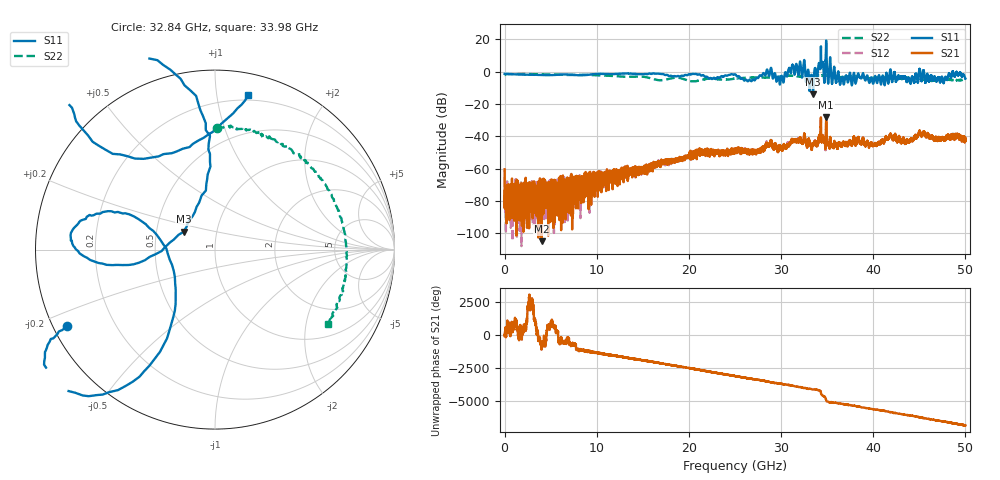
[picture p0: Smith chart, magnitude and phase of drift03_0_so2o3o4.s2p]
!Created with skrf (http://scikit-rf.org).
# Hz S RI R 50.0
!freq ReS11 ImS11 ReS21 ImS21 ReS12 ImS12 ReS22 ImS22
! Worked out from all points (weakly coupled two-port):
!   10001 points, 300 kHz to 50 GHz, reference 50 ohm
!   highest |S21| = -28.04 dB at 34.89 GHz (marker M1); lowest = -105.0 dB at 4.01 GHz (marker M2)
!   lowest |S11| = -13.9 dB at 33.47 GHz (marker M3), VSWR 1.50, Z = 34.5 + j7.14 ohm
!   |S11| at or under -10 dB: 33.06963 GHz to 33.11634 GHz (46.71 MHz wide, 0.141 % of centre); 33.43725 GHz to 33.50144 GHz (64.19 MHz wide, 0.192 % of centre)
!   |S22| runs from -6.0 to -1.3 dB; largest |S21 - S12| = 0.0083
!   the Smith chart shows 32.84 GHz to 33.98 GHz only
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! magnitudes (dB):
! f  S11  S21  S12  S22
! 300 kHz  -1.3  -60.4  -65.4  -2.1
! 255.3 MHz  -1.3  -71.9  -81.0  -1.4
! 455.3 MHz  -1.4  -74.8  -73.6  -1.5
! 4.01 GHz  -2.0  -105.0  -75.7  -1.6
! 8.335 GHz  -2.2  -67.6  -67.6  -1.9
! 16.67 GHz  -1.2  -57.1  -57.7  -5.2
! 25 GHz  -1.6  -48.9  -49.1  -4.2
! 26.59 GHz  -5.0  -49.5  -50.6  -3.7
! 28.73 GHz  -2.4  -45.3  -45.3  -3.5
! 30.06 GHz  -2.5  -47.8  -47.2  -2.9
! 31.08 GHz  -0.7  -44.4  -43.5  -2.5
! 31.88 GHz  -2.2  -42.8  -41.8  -2.9
! 33.34 GHz  -2.1  -47.8  -47.4  -2.9
! 33.47 GHz  -13.9  -45.0  -45.0  -2.8
! 34.3 GHz  6.6  -34.1  -34.5  -2.4
! 34.89 GHz  19.4  -28.0  -29.8  -2.4
! 36.6 GHz  -3.4  -45.8  -46.5  -3.6
! 40.17 GHz  -2.9  -45.2  -44.5  -3.8
! 41.67 GHz  -6.4  -40.8  -40.5  -3.8
! 43.68 GHz  -6.2  -42.5  -42.9  -3.9
! 45.24 GHz  -5.7  -39.7  -39.3  -4.6
! 50 GHz  -4.3  -42.8  -40.7  -5.0
